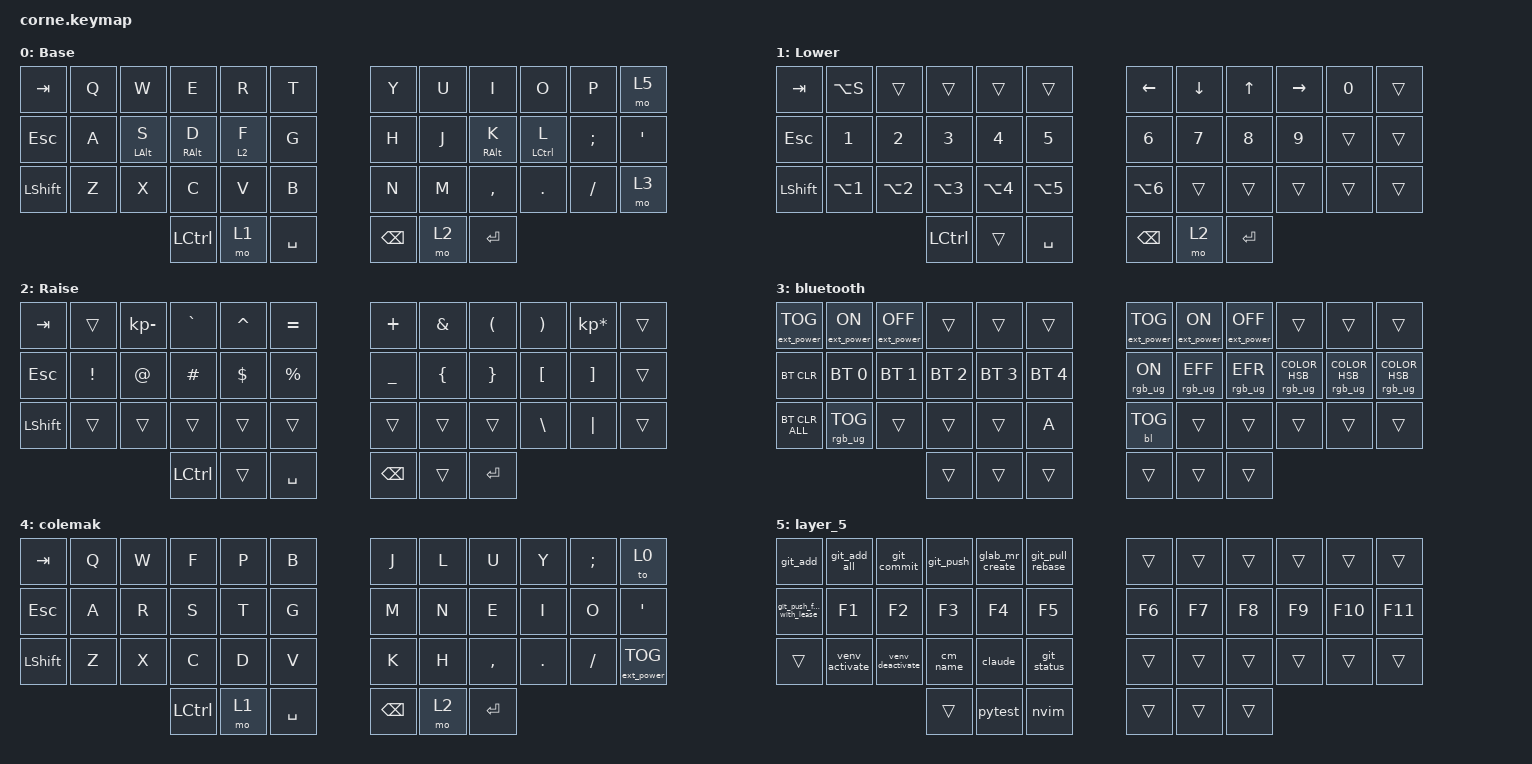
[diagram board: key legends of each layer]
/*
 * Copyright (c) 2020 The ZMK Contributors
 *
 * SPDX-License-Identifier: MIT
 */

#include <behaviors.dtsi>
#include <dt-bindings/zmk/backlight.h>
#include <dt-bindings/zmk/bt.h>
#include <dt-bindings/zmk/ext_power.h>
#include <dt-bindings/zmk/keys.h>
#include <dt-bindings/zmk/rgb.h>

/ {
    behaviors {
        betterholdandtap: betterholdandtap {
            compatible = "zmk,behavior-hold-tap";
            label = "BETTERHOLDANDTAP";
            bindings = <&kp>, <&kp>;

            #binding-cells = <2>;
            tapping-term-ms = <200>;
            flavor = "tap-preferred";
            quick-tap-ms = <(-1)>;
            require-prior-idle-ms = <100>;
        };

        tap_dance: tap_dance {
            compatible = "zmk,behavior-tap-dance";
            label = "TAP_DANCE";
            #binding-cells = <0>;
            bindings = <&to 1>, <&to 0>;

            tapping-term-ms = <200>;
        };

        holdLayerTapletter: holdLayerTapletter {
            compatible = "zmk,behavior-hold-tap";
            label = "HOLDLAYERTAPLETTER";
            bindings = <&mo>, <&kp>;

            #binding-cells = <2>;
            tapping-term-ms = <200>;
            require-prior-idle-ms = <100>;
            flavor = "tap-preferred";
        };
    };

    macros {
        git_push: git_push {
            compatible = "zmk,behavior-macro";
            #binding-cells = <0>;
            bindings = <&kp G &kp I &kp T &kp SPACE &kp P &kp U &kp S &kp H>;
            label = "GIT_PUSH";
            wait-ms = <10>;
            tap-ms = <10>;
        };

        git_commit: git_commit {
            compatible = "zmk,behavior-macro";
            #binding-cells = <0>;
            bindings = <&kp G &kp I &kp T &kp SPACE &kp C &kp O &kp M &kp M &kp I &kp T &kp SPACE &kp MINUS &kp M &kp SPACE &kp DQT &kp DQT>;
            label = "GIT_COMMIT";
            wait-ms = <10>;
            tap-ms = <10>;
        };

        git_pull_rebase: git_pull_rebase {
            compatible = "zmk,behavior-macro";
            #binding-cells = <0>;
            bindings = <&kp G &kp I &kp T &kp SPACE &kp P &kp U &kp L &kp L &kp SPACE &kp MINUS &kp MINUS &kp R &kp E &kp B &kp A &kp S &kp E &kp SPACE &kp O &kp R &kp I &kp G &kp I &kp N &kp SPACE &kp D &kp E &kp V>;
            label = "GIT_PULL_REBASE";
            wait-ms = <10>;
            tap-ms = <10>;
        };

        git_fetch: git_fetch {
            compatible = "zmk,behavior-macro";
            #binding-cells = <0>;
            bindings = <&kp G &kp I &kp T &kp SPACE &kp F &kp E &kp T &kp C &kp H>;
            label = "GIT_FETCH";
            wait-ms = <10>;
            tap-ms = <10>;
        };

        git_rebase_continue: git_rebase_continue {
            compatible = "zmk,behavior-macro";
            #binding-cells = <0>;
            bindings = <&kp G &kp I &kp T &kp SPACE &kp R &kp E &kp B &kp A &kp S &kp E &kp SPACE &kp MINUS &kp MINUS &kp C &kp O &kp N &kp T &kp I &kp N &kp U &kp E>;
            label = "GIT_REBASE_CONTINUE";
            wait-ms = <10>;
            tap-ms = <10>;
        };

        git_add_all: git_add_all {
            compatible = "zmk,behavior-macro";
            #binding-cells = <0>;
            bindings = <&kp G &kp I &kp T &kp SPACE &kp A &kp D &kp D &kp SPACE &kp DOT>;
            label = "GIT_ADD_ALL";
            wait-ms = <10>;
            tap-ms = <10>;
        };

        git_add: git_add {
            compatible = "zmk,behavior-macro";
            #binding-cells = <0>;
            bindings = <&kp G &kp I &kp T &kp SPACE &kp A &kp D &kp D>;
            label = "GIT_ADD";
            wait-ms = <10>;
            tap-ms = <10>;
        };

        claude: claude {
            compatible = "zmk,behavior-macro";
            #binding-cells = <0>;
            bindings = <&kp C &kp L &kp A &kp U &kp D &kp E &kp RET>;
            label = "CLAUDE";
            wait-ms = <10>;
            tap-ms = <10>;
        };

        nvim: nvim {
            compatible = "zmk,behavior-macro";
            #binding-cells = <0>;
            bindings = <&kp N &kp V &kp I &kp M &kp RET>;
            label = "NVIM";
            wait-ms = <10>;
            tap-ms = <10>;
        };

        git_push_force_with_lease: git_push_force_with_lease {
            compatible = "zmk,behavior-macro";
            #binding-cells = <0>;
            bindings = <&none &kp G &kp I &kp T &kp SPACE &kp P &kp U &kp S &kp H &kp SPACE &kp MINUS &kp MINUS &kp F &kp O &kp R &kp C &kp E &kp MINUS &kp W &kp I &kp T &kp H &kp MINUS &kp L &kp E &kp A &kp S &kp E>;
            label = "GIT_PUSH_FORCE_WITH_LEASE";
            wait-ms = <10>;
            tap-ms = <10>;
        };

        glab_mr_create: glab_mr_create {
            compatible = "zmk,behavior-macro";
            #binding-cells = <0>;
            bindings = <&kp G &kp L &kp A &kp B &kp SPACE &kp M &kp R &kp SPACE &kp C &kp R &kp E &kp A &kp T &kp E>;
            label = "GLAB_MR_CREATE";
            wait-ms = <10>;
            tap-ms = <10>;
        };

        cm_name: cm_name {
            compatible = "zmk,behavior-macro";
            #binding-cells = <0>;
            bindings = <&kp C &kp M &kp SPACE &kp MINUS &kp MINUS &kp N &kp A &kp M &kp E &kp SPACE>;
            label = "CM_NAME";
            wait-ms = <10>;
            tap-ms = <10>;
        };

        venv_activate: venv_activate {
            compatible = "zmk,behavior-macro";
            #binding-cells = <0>;
            bindings = <&kp S &kp O &kp U &kp R &kp C &kp E &kp SPACE &kp DOT &kp FSLH &kp V &kp E &kp N &kp V &kp FSLH &kp B &kp I &kp N &kp FSLH &kp A &kp C &kp T &kp I &kp V &kp A &kp T &kp E &kp RET>;
            label = "VENV_ACTIVATE";
            wait-ms = <10>;
            tap-ms = <10>;
        };

        venv_deactivate: venv_deactivate {
            compatible = "zmk,behavior-macro";
            #binding-cells = <0>;
            bindings = <&kp D &kp E &kp A &kp C &kp T &kp I &kp V &kp A &kp T &kp E>;
            label = "VENV_DEACTIVATE";
            wait-ms = <10>;
            tap-ms = <10>;
        };

        pytest: pytest {
            compatible = "zmk,behavior-macro";
            #binding-cells = <0>;
            bindings = <&kp P &kp Y &kp T &kp E &kp S &kp T &kp SPACE>;
            label = "PYTEST";
            wait-ms = <10>;
            tap-ms = <10>;
        };

        git_status: git_status {
            compatible = "zmk,behavior-macro";
            #binding-cells = <0>;
            bindings = <&kp G &kp I &kp T &kp SPACE &kp S &kp T &kp A &kp T &kp U &kp S &kp RET>;
            label = "GIT_STATUS";
            wait-ms = <10>;
            tap-ms = <10>;
        };
    };

    keymap {
        compatible = "zmk,keymap";

        default_layer {
            // -----------------------------------------------------------------------------------------
            // |  TAB |  Q  |  W  |  E  |  R  |  T  |   |  Y  |  U   |  I  |  O  |  P  | BKSP |
            // | CTRL |  A  |  S  |  D  |  F  |  G  |   |  H  |  J   |  K  |  L  |  ;  |  '   |
            // | SHFT |  Z  |  X  |  C  |  V  |  B  |   |  N  |  M   |  ,  |  .  |  /  | ESC  |
            //                    | GUI | LWR | SPC |   | ENT | RSE  | ALT |

            display-name = "Base";
            bindings = <
&kp TAB    &kp Q  &kp W                     &kp E                          &kp R                    &kp T        &kp Y          &kp U  &kp I                          &kp O                      &kp P     &mo 5
&kp ESC    &kp A  &betterholdandtap LALT S  &betterholdandtap RIGHT_ALT D  &holdLayerTapletter 2 F  &kp G        &kp H          &kp J  &betterholdandtap RIGHT_ALT K  &betterholdandtap LCTRL L  &kp SEMI  &kp APOSTROPHE
&kp LSHFT  &kp Z  &kp X                     &kp C                          &kp V                    &kp B        &kp N          &kp M  &kp COMMA                      &kp DOT                    &kp FSLH  &mo 3
                                            &kp LCTRL                      &mo 1                    &kp SPACE    &kp BACKSPACE  &mo 2  &kp ENTER
            >;
        };

        lower_layer {
            // -----------------------------------------------------------------------------------------
            // |  TAB |  1  |  2  |  3  |  4  |  5  |   |  6  |  7  |  8  |  9  |  0  | BKSP |
            // | BTCLR| BT1 | BT2 | BT3 | BT4 | BT5 |   | LFT | DWN |  UP | RGT |     |      |
            // | SHFT |     |     |     |     |     |   |     |     |     |     |     |      |
            //                    | GUI |     | SPC |   | ENT |     | ALT |

            display-name = "Lower";
            bindings = <
&kp TAB    &kp LA(S)         &trans            &trans            &trans            &trans              &kp LEFT_ARROW    &kp DOWN_ARROW  &kp UP_ARROW  &kp RIGHT_ARROW  &kp NUMBER_0  &trans
&kp ESC    &kp NUMBER_1      &kp NUMBER_2      &kp NUMBER_3      &kp NUMBER_4      &kp NUMBER_5        &kp NUMBER_6      &kp NUMBER_7    &kp NUMBER_8  &kp NUMBER_9     &trans        &trans
&kp LSHFT  &kp LA(NUMBER_1)  &kp LA(NUMBER_2)  &kp LA(NUMBER_3)  &kp LA(NUMBER_4)  &kp LA(NUMBER_5)    &kp LA(NUMBER_6)  &trans          &trans        &trans           &trans        &trans
                                               &kp LCTRL         &trans            &kp SPACE           &kp BACKSPACE     &mo 2           &kp ENTER
            >;
        };

        raise_layer {
            // -----------------------------------------------------------------------------------------
            // |  TAB |  !  |  @  |  #  |  $  |  %  |   |  ^  |  &  |  *  |  (  |  )  | BKSP |
            // | CTRL |     |     |     |     |     |   |  -  |  =  |  [  |  ]  |  \  |  `   |
            // | SHFT |     |     |     |     |     |   |  _  |  +  |  {  |  }  | "|" |  ~   |
            //                    | GUI |     | SPC |   | ENT |     | ALT |

            display-name = "Raise";
            bindings = <
&kp TAB     &trans           &kp KP_SUBTRACT  &kp GRAVE  &kp CARET   &kp EQUAL      &kp PLUS        &kp AMPS        &kp LEFT_PARENTHESIS  &kp RIGHT_PARENTHESIS  &kp KP_MULTIPLY    &trans
&kp ESCAPE  &kp EXCLAMATION  &kp AT_SIGN      &kp HASH   &kp DOLLAR  &kp PERCENT    &kp UNDERSCORE  &kp LEFT_BRACE  &kp RIGHT_BRACE       &kp LEFT_BRACKET       &kp RIGHT_BRACKET  &trans
&kp LSHFT   &trans           &trans           &trans     &trans      &trans         &trans          &trans          &trans                &kp BACKSLASH          &kp PIPE           &trans
                                              &kp LCTRL  &trans      &kp SPACE      &kp BACKSPACE   &trans          &kp ENTER
            >;
        };

        layer_3 {
            display-name = "bluetooth";
            bindings = <
&ext_power EP_TOG  &ext_power EP_ON  &ext_power EP_OFF  &trans        &trans        &trans          &ext_power EP_TOG  &ext_power EP_ON  &ext_power EP_OFF  &trans                             &trans                          &trans
&bt BT_CLR         &bt BT_SEL 0      &bt BT_SEL 1       &bt BT_SEL 2  &bt BT_SEL 3  &bt BT_SEL 4    &rgb_ug RGB_ON     &rgb_ug RGB_EFF   &rgb_ug RGB_EFR    &rgb_ug RGB_COLOR_HSB(253,100,48)  &rgb_ug RGB_COLOR_HSB(0,91,50)  &rgb_ug RGB_COLOR_HSB(183,71,53)
&bt BT_CLR_ALL     &rgb_ug RGB_TOG   &trans             &trans        &trans        &kp A           &bl BL_TOG         &trans            &trans             &trans                             &trans                          &trans
                                                        &trans        &trans        &trans          &trans             &trans            &trans
            >;
        };

        layer_4 {
            display-name = "colemak";
            bindings = <
&kp TAB         &kp Q  &kp W  &kp F      &kp P  &kp B        &kp J     &kp L  &kp U      &kp Y    &kp SEMI  &to 0
&kp ESCAPE      &kp A  &kp R  &kp S      &kp T  &kp G        &kp M     &kp N  &kp E      &kp I    &kp O     &kp APOS
&kp LEFT_SHIFT  &kp Z  &kp X  &kp C      &kp D  &kp V        &kp K     &kp H  &kp COMMA  &kp DOT  &kp FSLH  &ext_power EP_TOG
                              &kp LCTRL  &mo 1  &kp SPACE    &kp BSPC  &mo 2  &kp ENTER
            >;
        };

        layer_5 {
            bindings = <
&git_add                    &git_add_all    &git_commit       &git_push  &glab_mr_create  &git_pull_rebase    &trans  &trans  &trans  &trans  &trans   &trans
&git_push_force_with_lease  &kp F1          &kp F2            &kp F3     &kp F4           &kp F5              &kp F6  &kp F7  &kp F8  &kp F9  &kp F10  &kp F11
&trans                      &venv_activate  &venv_deactivate  &cm_name   &claude          &git_status         &trans  &trans  &trans  &trans  &trans   &trans
                                                              &trans     &pytest          &nvim               &trans  &trans  &trans
            >;
        };
    };

    conditional_layers { compatible = "zmk,conditional-layers"; };
};
